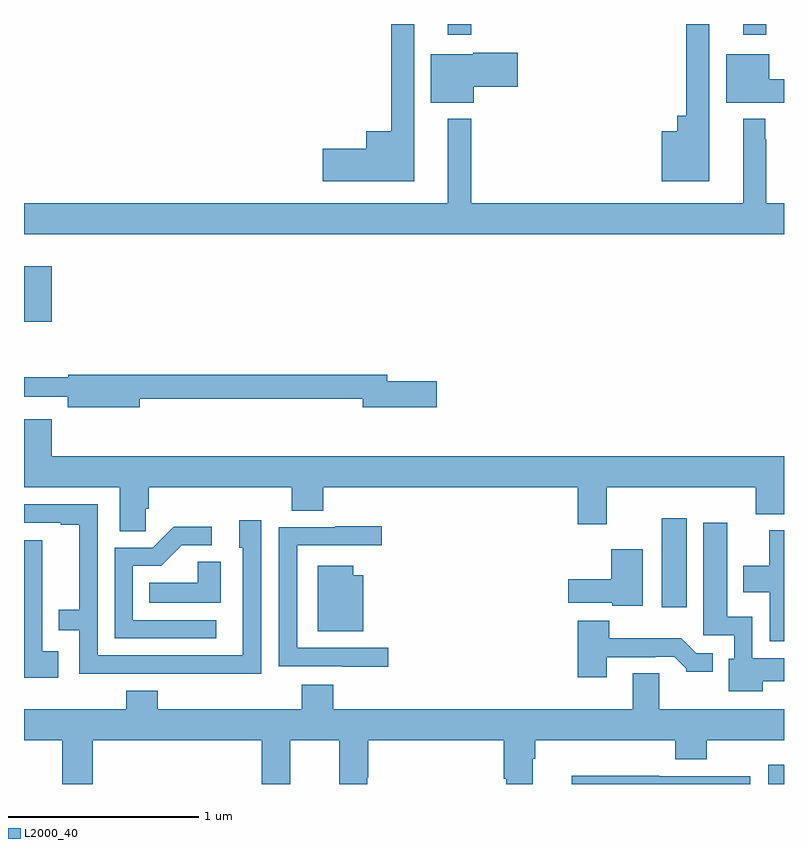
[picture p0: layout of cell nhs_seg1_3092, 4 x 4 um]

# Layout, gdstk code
import gdstk
lib = gdstk.Library(unit=1e-6, precision=1e-09)
def R(c, l, rs):  # rectangles x0, y0, x1, y1
    for r in rs: c.add(gdstk.rectangle(r[:2], r[2:], *l))
def P(c, l, *ps):  # polygons
    for p in ps: c.add(gdstk.Polygon(p, *l))
L2000_40 = (2000, 40)

nhs_seg1_3092 = lib.new_cell('nhs_seg1_3092')
R(nhs_seg1_3092, L2000_40, [(282.918,522.199,283,522.301), (282.356,523.128,282.487,523.597), (279,524.633,279.146,524.923), (281.231,526.143,281.353,526.199), (282.785,526.143,282.907,526.199)])
P(nhs_seg1_3092, L2000_40, [(282.607,526.199),(282.486,526.199),(282.486,525.715),(282.437,525.715),(282.437,525.634),(282.356,525.634),(282.356,525.371),(282.607,525.371)],
  [(281.053,526.199),(280.932,526.199),(280.932,525.634),(280.802,525.634),(280.802,525.542),(280.572,525.542),(280.572,525.371),(281.053,525.371)],
  [(281.368,525.869),(281.599,525.869),(281.599,526.047),(281.364,526.047),(281.364,526.039),(281.141,526.039),(281.141,525.785),(281.368,525.785)],
  [(283,525.908),(282.922,525.908),(282.922,526.039),(282.695,526.039),(282.695,525.785),(283,525.785)],
  [(283,525.256),(282.907,525.256),(282.907,525.593),(282.9,525.593),(282.9,525.7),(282.785,525.7),(282.785,525.256),(281.353,525.256),(281.353,525.7),(281.231,525.7),(281.231,525.256),(279,525.256),(279,525.092),(283,525.092)],
  [(279.61,524.226),(280.784,524.226),(280.784,524.183),(281.173,524.183),(281.173,524.318),(280.912,524.318),(280.912,524.354),(279.234,524.354),(279.234,524.339),(279,524.339),(279,524.238),(279.23,524.238),(279.23,524.183),(279.61,524.183)],
  [(279.641,523.648),(279.656,523.648),(279.656,523.76),(280.409,523.76),(280.409,523.636),(280.574,523.636),(280.574,523.76),(281.915,523.76),(281.915,523.566),(282.067,523.566),(282.067,523.76),(282.851,523.76),(282.851,523.619),(283,523.619),(283,523.924),(279.146,523.924),(279.146,524.119),(279,524.119),(279,523.76),(279.503,523.76),(279.503,523.528),(279.641,523.528)],
  [(280.248,523.588),(280.133,523.588),(280.133,523.443),(280.152,523.443),(280.152,522.876),(279.387,522.876),(279.387,523.671),(279,523.671),(279,523.575),(279.194,523.575),(279.194,523.563),(279.29,523.563),(279.29,523.117),(279.182,523.117),(279.182,523.008),(279.291,523.008),(279.291,522.78),(279.787,522.78),(279.787,522.779),(280.248,522.779)],
  [(282.887,522.74),(283,522.74),(283,522.862),(282.834,522.862),(282.834,523.078),(282.7,523.078),(282.7,523.573),(282.575,523.573),(282.575,522.981),(282.738,522.981),(282.738,522.858),(282.71,522.858),(282.71,522.686),(282.887,522.686)],
  [(280.918,522.915),(280.437,522.915),(280.437,523.455),(280.882,523.455),(280.882,523.555),(280.637,523.555),(280.637,523.551),(280.341,523.551),(280.341,522.819),(280.673,522.819),(280.673,522.815),(280.918,522.815)],
  [(280.012,523.062),(279.573,523.062),(279.573,523.347),(279.723,523.347),(279.831,523.455),(279.988,523.455),(279.988,523.553),(279.788,523.553),(279.678,523.443),(279.477,523.443),(279.477,522.966),(280.012,522.966)],
  [(283,523.534),(282.922,523.534),(282.922,523.348),(282.785,523.348),(282.785,523.208),(282.924,523.208),(282.924,522.951),(283,522.951)],
  [(279.181,522.898),(279.096,522.898),(279.096,522.994),(279.097,522.994),(279.097,523.482),(279,523.482),(279,522.758),(279.181,522.758)],
  [(282.256,523.435),(282.092,523.435),(282.092,523.276),(281.865,523.276),(281.865,523.154),(282.096,523.154),(282.096,523.136),(282.256,523.136)],
  [(280.036,523.37),(279.914,523.37),(279.914,523.258),(279.658,523.258),(279.658,523.154),(280.036,523.154)],
  [(280.786,523.297),(280.733,523.297),(280.733,523.348),(280.547,523.348),(280.547,523.004),(280.786,523.004)],
  [(282.067,522.867),(282.323,522.867),(282.323,522.87),(282.422,522.87),(282.486,522.806),(282.486,522.791),(282.625,522.791),(282.625,522.888),(282.537,522.888),(282.459,522.967),(282.08,522.967),(282.08,523.057),(281.915,523.057),(281.915,522.762),(282.067,522.762)],
  [(279.362,522.428),(280.25,522.428),(280.25,522.199),(280.402,522.199),(280.402,522.428),(280.658,522.428),(280.658,522.199),(280.806,522.199),(280.806,522.232),(280.811,522.232),(280.811,522.428),(281.525,522.428),(281.525,522.226),(281.537,522.226),(281.537,522.199),(281.677,522.199),(281.677,522.332),(281.69,522.332),(281.69,522.428),(282.428,522.428),(282.428,522.329),(282.593,522.329),(282.593,522.428),(283,522.428),(283,522.592),(282.343,522.592),(282.343,522.782),(282.203,522.782),(282.203,522.592),(280.628,522.592),(280.628,522.721),(280.463,522.721),(280.463,522.592),(279.704,522.592),(279.704,522.691),(279.539,522.691),(279.539,522.592),(279,522.592),(279,522.428),(279.202,522.428),(279.202,522.199),(279.362,522.199)],
  [(282.822,522.24),(282.344,522.24),(282.344,522.242),(281.882,522.242),(281.882,522.199),(282.822,522.199)])

lib.write_gds('nhs_seg1_3092.gds')
